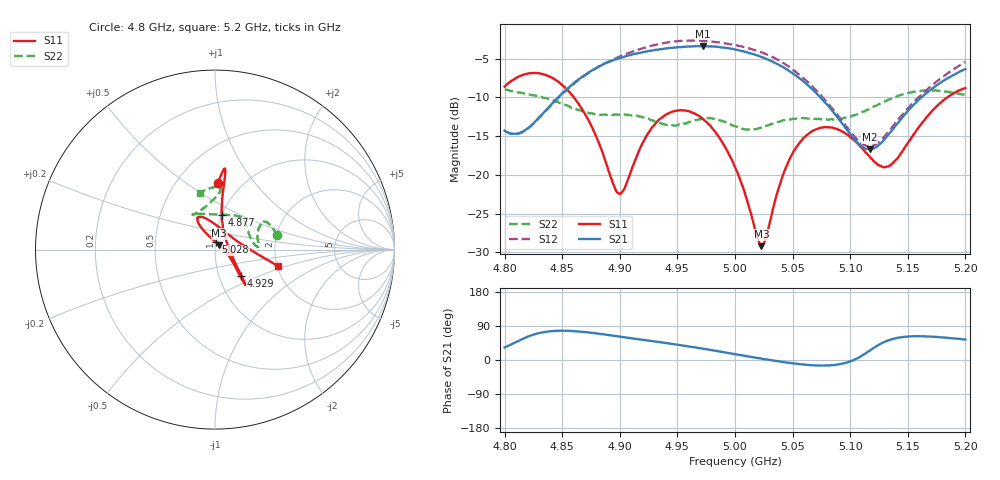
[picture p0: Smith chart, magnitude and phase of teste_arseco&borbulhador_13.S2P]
! Network Analyzer HP8722D
! Hewlett-Packard
! Data name: Linha & Wilkinson
! Saver's name: Rodrigo Anjos
! Comments: Teste da utilização de aquisição
! continua pelo VNA HP8722D
! Time and date: 15/4/2025 15:44
!  Frequency  S11  S21  S12  S22
# HZ  S  MA R 50
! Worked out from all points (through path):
!   401 points, 4.8 GHz to 5.2 GHz, reference 50 ohm
!   highest |S21| = -3.37 dB at 4.972 GHz (marker M1); lowest = -16.7 dB at 5.117 GHz (marker M2)
!   lowest |S11| = -29.2 dB at 5.023 GHz (marker M3), VSWR 1.07, Z = 52.4 + j2.62 ohm
!   |S11| at or under -10 dB: 4.86 GHz to 5.184 GHz (324.2 MHz wide, 6.45 % of centre)
!   |S22| runs from -14.2 to -9.0 dB; largest |S21 - S12| = 0.23
!   S11 on the Smith chart (normalised r, x): 4.8 GHz: 0.78, +0.67; 4.877 GHz: 1.00, +0.40; 4.929 GHz: 1.28, -0.39; 5.028 GHz: 1.01, +0.08; 5.2 GHz: 2.02, -0.43
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4.8e9  0.3716 87.8  0.1928 33.1  0.1924 -6.6  0.3553 13.1
4.814e9  0.4359 84.4  0.1875 53.6  0.1866 14.7  0.3381 23.2
4.834e9  0.4449 82.6  0.2523 73.6  0.2505 36.9  0.3142 29.6
4.851e9  0.3747 82.2  0.3411 77.3  0.3382 43.3  0.2853 28.2
4.867e9  0.2668 81.7  0.4279 74.5  0.4233 44.3  0.2576 22.8
4.877e9  0.1948 78.7  0.4781 71.1  0.4769 43.7  0.2484 18.0
4.895e9  0.08487 44.8  0.5538 63.8  0.5589 41.6  0.2438 9.6
4.9e9  0.07506 18.9  0.5675 61.7  0.5808 40.5  0.2446 7.4
4.929e9  0.2057 -44.8  0.636 49.6  0.6866 33.9  0.2233 6.9
4.934e9  0.2264 -46.7  0.6434 47.3  0.6997 32.2  0.2168 9.9
4.953e9  0.2612 -49.0  0.6682 39.0  0.7333 25.2  0.2104 29.4
4.972e9  0.2301 -48.1  0.6787 30.0  0.7324 17.8  0.2306 45.9
5e9  0.1123 -33.1  0.6442 15.2  0.6888 7.1  0.206 70.1
5.023e9  0.03461 46.1  0.5762 3.6  0.6169 -1.6  0.203 101.7
5.028e9  0.04207 82.6  0.5572 1.3  0.5966 -3.5  0.2084 107.1
5.046e9  0.12 120.5  0.4737 -7.0  0.5041 -9.9  0.2277 119.3
5.067e9  0.1914 120.8  0.3586 -13.6  0.3728 -13.0  0.2302 121.6
5.09e9  0.1947 111.7  0.2299 -11.4  0.238 -7.0  0.2293 113.3
5.117e9  0.1309 82.9  0.1459 24.9  0.1528 33.1  0.2665 94.7
5.134e9  0.1143 40.6  0.1846 52.8  0.1928 63.0  0.3064 86.8
5.172e9  0.2624 -8.4  0.3641 61.4  0.384 79.5  0.3508 88.4
5.2e9  0.3633 -14.7  0.481 53.9  0.5354 77.7  0.3276 104.5
